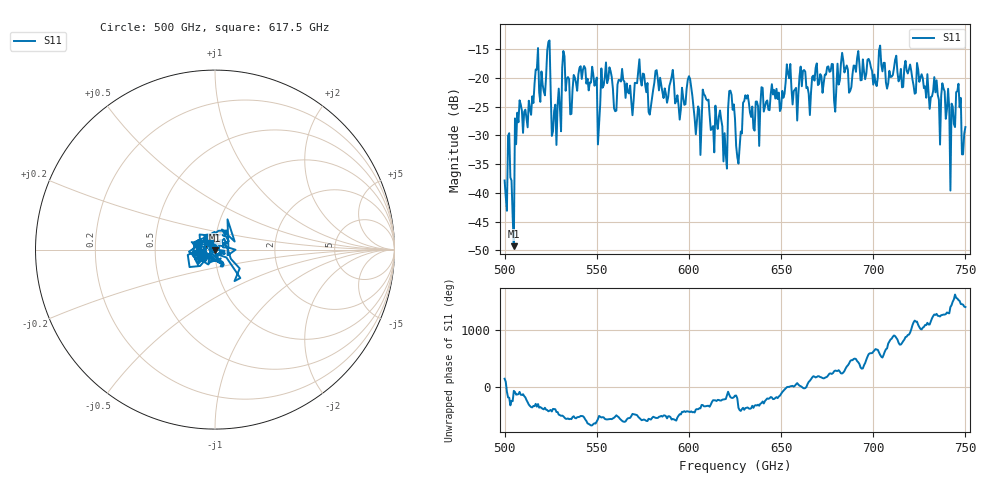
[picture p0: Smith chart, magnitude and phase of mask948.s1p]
!Created with skrf (http://scikit-rf.org).
# GHz S MA R 50.0
!freq magS11 angS11
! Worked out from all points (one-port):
!   401 points, 500 GHz to 750 GHz, reference 50 ohm
!   lowest |S11| = -49.3 dB at 505 GHz (marker M1), VSWR 1.01, Z = 50.2 - j0.309 ohm
!   |S11| at or under -10 dB: start of sweep to end of sweep
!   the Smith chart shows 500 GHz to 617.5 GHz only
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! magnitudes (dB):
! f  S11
! 500 GHz  -37.8
! 505 GHz  -49.3
! 506.9 GHz  -26.0
! 516.9 GHz  -18.5
! 523.8 GHz  -13.7
! 526.9 GHz  -25.7
! 531.2 GHz  -18.2
! 548.8 GHz  -21.3
! 550.6 GHz  -31.6
! 553.8 GHz  -21.3
! 562.5 GHz  -20.4
! 579.4 GHz  -24.9
! 590.6 GHz  -19.8
! 593.8 GHz  -23.0
! 600 GHz  -19.7
! 605 GHz  -24.9
! 608.8 GHz  -23.1
! 619.4 GHz  -29.6
! 623.1 GHz  -22.9
! 625 GHz  -27.1
! 626.9 GHz  -34.9
! 630.6 GHz  -23.0
! 656.2 GHz  -24.6
! 687.5 GHz  -22.2
! 718.8 GHz  -19.2
! 743.1 GHz  -25.0
! 746.2 GHz  -21.0
! 750 GHz  -28.5
